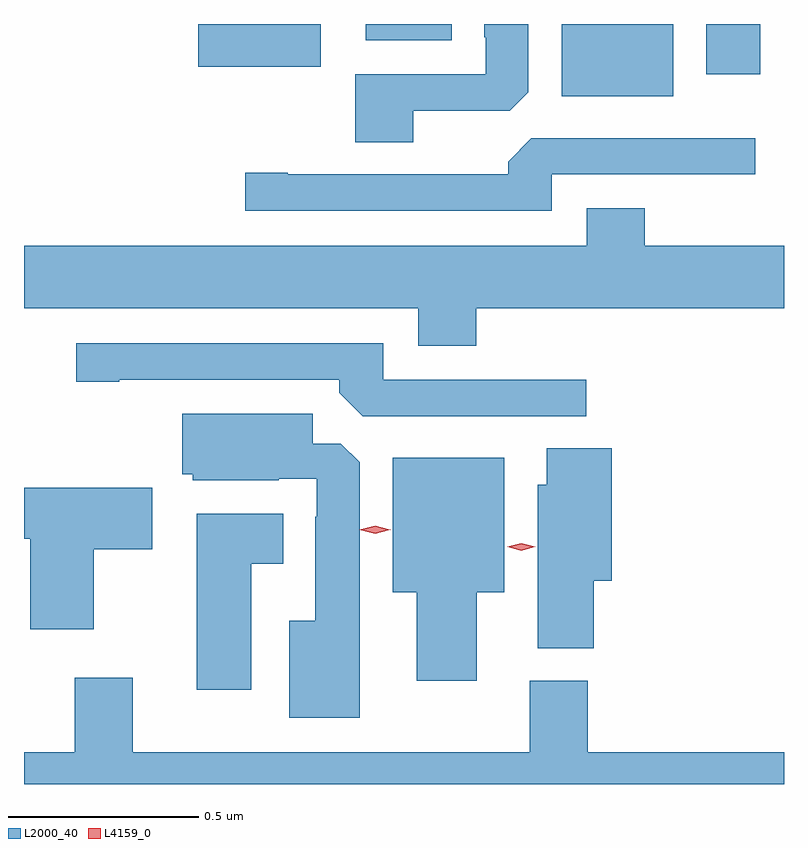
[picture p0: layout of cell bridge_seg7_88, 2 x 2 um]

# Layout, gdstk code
import gdstk
lib = gdstk.Library(unit=1e-6, precision=1e-09)
def R(c, l, rs):  # rectangles x0, y0, x1, y1
    for r in rs: c.add(gdstk.rectangle(r[:2], r[2:], *l))
def P(c, l, *ps):  # polygons
    for p in ps: c.add(gdstk.Polygon(p, *l))
L2000_40 = (2000, 40)
L4159_0 = (4159, 0)

bridge_seg7_88 = lib.new_cell('bridge_seg7_88')
R(bridge_seg7_88, L2000_40, [(1086.047,1017.158,1086.34,1017.348), (1086.428,1017.216,1086.57,1017.348), (1085.09,1017.236,1085.413,1017.348), (1085.531,1017.305,1085.758,1017.348)])
P(bridge_seg7_88, L2000_40, [(1085.656,1017.12),(1085.91,1017.12),(1085.959,1017.169),(1085.959,1017.348),(1085.843,1017.348),(1085.843,1017.313),(1085.847,1017.313),(1085.847,1017.216),(1085.504,1017.216),(1085.504,1017.037),(1085.656,1017.037)],
  [(1086.021,1016.952),(1086.556,1016.952),(1086.556,1017.048),(1085.967,1017.048),(1085.906,1016.986),(1085.906,1016.952),(1085.326,1016.952),(1085.326,1016.957),(1085.214,1016.957),(1085.214,1016.856),(1086.021,1016.856)],
  [(1085.822,1016.6),(1086.632,1016.6),(1086.632,1016.764),(1086.266,1016.764),(1086.266,1016.863),(1086.113,1016.863),(1086.113,1016.764),(1084.632,1016.764),(1084.632,1016.6),(1085.669,1016.6),(1085.669,1016.501),(1085.822,1016.501)],
  [(1086.112,1016.412),(1085.577,1016.412),(1085.577,1016.508),(1084.77,1016.508),(1084.77,1016.407),(1084.882,1016.407),(1084.882,1016.412),(1085.462,1016.412),(1085.462,1016.378),(1085.523,1016.316),(1086.112,1016.316)],
  [(1085.515,1016.195),(1085.466,1016.244),(1085.392,1016.244),(1085.392,1016.323),(1085.048,1016.323),(1085.048,1016.163),(1085.076,1016.163),(1085.076,1016.147),(1085.303,1016.147),(1085.303,1016.151),(1085.403,1016.151),(1085.403,1016.051),(1085.399,1016.051),(1085.399,1015.777),(1085.33,1015.777),(1085.33,1015.523),(1085.515,1015.523)],
  [(1086.131,1015.883),(1086.179,1015.883),(1086.179,1016.231),(1086.008,1016.231),(1086.008,1016.136),(1085.984,1016.136),(1085.984,1015.705),(1086.131,1015.705)],
  [(1085.824,1015.853),(1085.896,1015.853),(1085.896,1016.206),(1085.603,1016.206),(1085.603,1015.853),(1085.666,1015.853),(1085.666,1015.62),(1085.824,1015.62)],
  [(1084.816,1015.966),(1084.969,1015.966),(1084.969,1016.128),(1084.632,1016.128),(1084.632,1015.994),(1084.649,1015.994),(1084.649,1015.755),(1084.816,1015.755)],
  [(1085.23,1015.928),(1085.314,1015.928),(1085.314,1016.059),(1085.087,1016.059),(1085.087,1015.596),(1085.23,1015.596)],
  [(1086.632,1015.432),(1086.116,1015.432),(1086.116,1015.62),(1085.963,1015.62),(1085.963,1015.432),(1084.918,1015.432),(1084.918,1015.627),(1084.766,1015.627),(1084.766,1015.432),(1084.632,1015.432),(1084.632,1015.348),(1086.632,1015.348)])
P(bridge_seg7_88, L4159_0, [(1085.941,1015.962),(1085.904,1015.972),(1085.903,1015.972),(1085.904,1015.972),(1085.941,1015.982),(1085.978,1015.972),(1085.978,1015.972),(1085.978,1015.972)],
  [(1085.556,1016.007),(1085.514,1016.017),(1085.514,1016.017),(1085.514,1016.017),(1085.556,1016.027),(1085.596,1016.017),(1085.597,1016.017),(1085.596,1016.017)])

lib.write_gds('bridge_seg7_88.gds')
